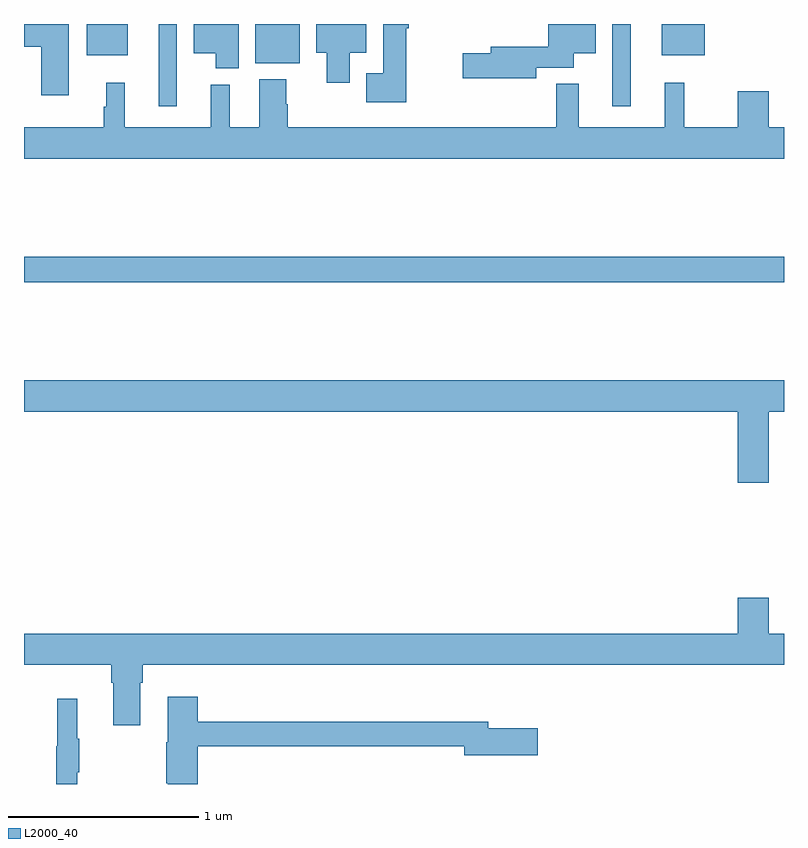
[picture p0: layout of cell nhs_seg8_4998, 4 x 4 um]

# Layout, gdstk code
import gdstk
lib = gdstk.Library(unit=1e-6, precision=1e-09)
def R(c, l, rs):  # rectangles x0, y0, x1, y1
    for r in rs: c.add(gdstk.rectangle(r[:2], r[2:], *l))
def P(c, l, *ps):  # polygons
    for p in ps: c.add(gdstk.Polygon(p, *l))
L2000_40 = (2000, 40)

nhs_seg8_4998 = lib.new_cell('nhs_seg8_4998')
R(nhs_seg8_4998, L2000_40, [(413,1090.54,417,1090.676), (413.708,1091.466,413.805,1091.9), (416.097,1091.466,416.194,1091.9), (414.218,1091.693,414.451,1091.9), (413.33,1091.735,413.545,1091.9), (416.357,1091.735,416.584,1091.9)])
P(nhs_seg8_4998, L2000_40, [(415.696,1091.67),(415.894,1091.67),(415.894,1091.747),(416.008,1091.747),(416.008,1091.9),(415.76,1091.9),(415.76,1091.779),(415.457,1091.779),(415.457,1091.745),(415.308,1091.745),(415.308,1091.615),(415.696,1091.615)],
  [(413.236,1091.9),(413,1091.9),(413,1091.78),(413.09,1091.78),(413.09,1091.526),(413.236,1091.526)],
  [(415.012,1091.878),(415.025,1091.878),(415.025,1091.9),(414.89,1091.9),(414.89,1091.641),(414.8,1091.641),(414.8,1091.489),(415.012,1091.489)],
  [(414.13,1091.9),(413.894,1091.9),(413.894,1091.747),(414.008,1091.747),(414.008,1091.666),(414.13,1091.666)],
  [(414.715,1091.75),(414.802,1091.75),(414.802,1091.9),(414.539,1091.9),(414.539,1091.75),(414.593,1091.75),(414.593,1091.592),(414.715,1091.592)],
  [(417,1091.356),(416.92,1091.356),(416.92,1091.545),(416.756,1091.545),(416.756,1091.356),(416.474,1091.356),(416.474,1091.59),(416.372,1091.59),(416.372,1091.356),(415.919,1091.356),(415.919,1091.585),(415.801,1091.585),(415.801,1091.356),(414.387,1091.356),(414.387,1091.477),(414.379,1091.477),(414.379,1091.608),(414.239,1091.608),(414.239,1091.356),(414.082,1091.356),(414.082,1091.581),(413.984,1091.581),(413.984,1091.356),(413.531,1091.356),(413.531,1091.59),(413.432,1091.59),(413.432,1091.465),(413.421,1091.465),(413.421,1091.356),(413,1091.356),(413,1091.192),(417,1091.192)],
  [(416.92,1089.86),(417,1089.86),(417,1090.024),(413,1090.024),(413,1089.86),(416.756,1089.86),(416.756,1089.486),(416.92,1089.486)],
  [(413.611,1088.432),(413.624,1088.432),(413.624,1088.528),(417,1088.528),(417,1088.692),(416.92,1088.692),(416.92,1088.881),(416.756,1088.881),(416.756,1088.692),(413,1088.692),(413,1088.528),(413.459,1088.528),(413.459,1088.432),(413.471,1088.432),(413.471,1088.208),(413.611,1088.208)],
  [(413.915,1088.098),(415.316,1088.098),(415.316,1088.051),(415.705,1088.051),(415.705,1088.193),(415.444,1088.193),(415.444,1088.227),(413.915,1088.227),(413.915,1088.359),(413.756,1088.359),(413.756,1088.121),(413.749,1088.121),(413.749,1087.903),(413.756,1087.903),(413.756,1087.9),(413.915,1087.9)],
  [(413.279,1087.963),(413.29,1087.963),(413.29,1088.137),(413.279,1088.137),(413.279,1088.35),(413.176,1088.35),(413.176,1088.1),(413.169,1088.1),(413.169,1087.9),(413.279,1087.9)])

lib.write_gds('nhs_seg8_4998.gds')
